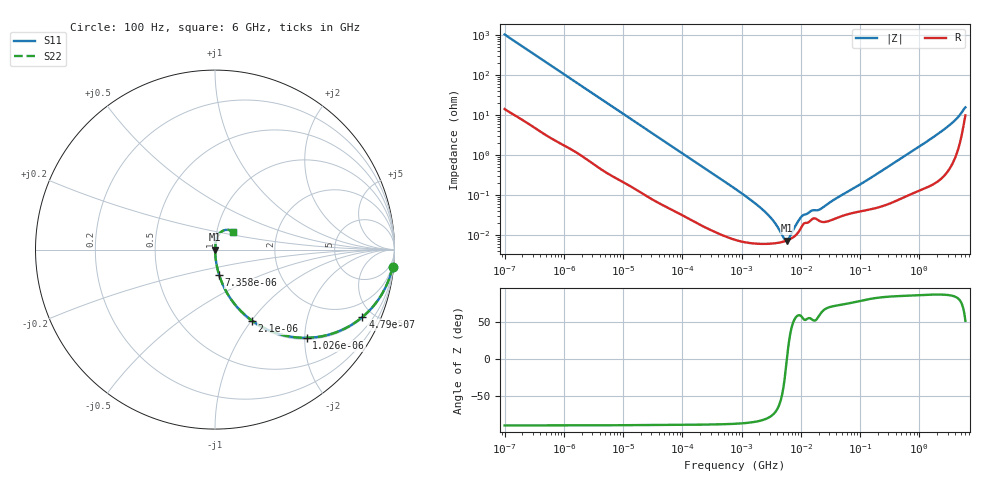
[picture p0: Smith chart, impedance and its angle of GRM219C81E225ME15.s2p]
!Murata Part Number: GRM219C81E225ME15
!These Parameters are Measured in Series Mode Connection
!Data Generated on Mar 30, 2021
!  o--ll--o
!Port1  Port2
!  o------o
!Operation Temp=25[degC], DC Bias Voltage=0[V]
!Freq. Start=100[Hz] Stop=6[GHz] 401[Steps]
# Hz S RI R 50
!Freq.(Hz) S11(Real) S11(Imag) S21(Real) S21(Imag) S12(Real) S12(Imag) S22(Real) S22(Imag)
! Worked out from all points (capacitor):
!   401 points, 100 Hz to 6 GHz, reference 50 ohm
!   read as one part in series: C = 1.54 uF near 109 Hz
!   lowest |Z| = 7.38 mohm at 5.809 MHz (marker M1)
!   series resonance near 5.824 MHz, so ESL is about 480 pH
!   S11 on the Smith chart (normalised r, x): 100 Hz: 1, -21; 479 Hz: 1.07, -4.35; 1.026 kHz: 1.03, -2.05; 2.1 kHz: 1.02, -1.01; 7.358 kHz: 1.01, -0.29; 6 GHz: 1.20, +0.24
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100  0.9893 -0.0961  0.0107 0.0961  0.0107 0.0961  0.9893 -0.0961
245  0.9441 -0.2224  0.0559 0.2224  0.0559 0.2224  0.9441 -0.2224
479  0.8218 -0.3753  0.1782 0.3753  0.1782 0.3753  0.8218 -0.3753
1026  0.5112 -0.4915  0.4888 0.4915  0.4888 0.4915  0.5112 -0.4915
2008  0.2216 -0.4063  0.7784 0.4063  0.7784 0.4063  0.2216 -0.4063
2100  0.207 -0.3962  0.793 0.3962  0.793 0.3962  0.207 -0.3962
3594  0.0848 -0.2699  0.9152 0.2699  0.9152 0.2699  0.0848 -0.2699
7358  0.0234 -0.142  0.9766 0.142  0.9766 0.142  0.0234 -0.142
40335  0.00137 -0.0271  0.9986 0.0271  0.9986 0.0271  0.00137 -0.0271
774597  7.91e-05 -0.00146  0.9999 0.00146  0.9999 0.00146  7.91e-05 -0.00146
2268635  6.1e-05 -0.000432  0.9999 0.000432  0.9999 0.000432  6.1e-05 -0.000432
3394479  6.24e-05 -0.000226  0.9999 0.000226  0.9999 0.000226  6.24e-05 -0.000226
4856642  6.81e-05 -7.35e-05  0.9999 7.35e-05  0.9999 7.35e-05  6.81e-05 -7.35e-05
5809218  7.38e-05 -1e-06  0.9999 1e-06  0.9999 1e-06  7.38e-05 -1e-06
6948629  8.35e-05 7.3e-05  0.9999 -7.3e-05  0.9999 -7.3e-05  8.35e-05 7.3e-05
1.039699e7  0.000166 0.000249  0.9998 -0.000249  0.9998 -0.000249  0.000166 0.000249
1.555665e7  0.000253 0.000332  0.9997 -0.000332  0.9997 -0.000332  0.000253 0.000332
2.225763e7  0.000218 0.000413  0.9998 -0.000413  0.9998 -0.000413  0.000218 0.000413
3.124326e8  0.000642 0.00535  0.9994 -0.00535  0.9994 -0.00535  0.000642 0.00535
2.450438e9  0.00437 0.0404  0.9956 -0.0404  0.9956 -0.0404  0.00437 0.0404
4.385646e9  0.0188 0.0815  0.9812 -0.0815  0.9812 -0.0815  0.0188 0.0815
6e9  0.1001 0.0992  0.8999 -0.0992  0.8999 -0.0992  0.1001 0.0992
